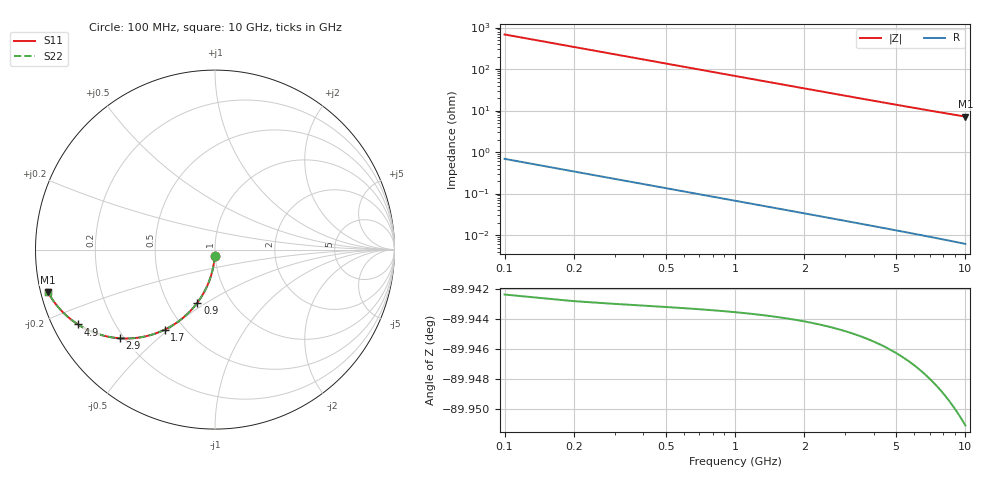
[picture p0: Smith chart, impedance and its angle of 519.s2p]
# Hz S RI R 50.00
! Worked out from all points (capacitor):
!   100 points, 100 MHz to 10 GHz, reference 50 ohm
!   read as one part in shunt: C = 2.33 pF near 100 MHz
!   lowest |Z| = 7.16 ohm at 10 GHz (marker M1)
!   S11 on the Smith chart (normalised r, x): 100 MHz: 0.99, -0.07; 900 MHz: 0.70, -0.46; 1.7 GHz: 0.39, -0.49; 2.9 GHz: 0.18, -0.38; 4.9 GHz: 0.07, -0.25; 10 GHz: 0.02, -0.12
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1e8  -0.00134 -0.0365  0.9986 -0.0368  0.9986 -0.0368  -0.00134 -0.0365
2e8  -0.00539 -0.0726  0.9945 -0.0732  0.9945 -0.0732  -0.00539 -0.0726
3e8  -0.012 -0.1082  0.9879 -0.1091  0.9879 -0.1091  -0.012 -0.1082
4e8  -0.0212 -0.1429  0.9788 -0.1441  0.9788 -0.1441  -0.0212 -0.1429
5e8  -0.0326 -0.1766  0.9673 -0.1781  0.9673 -0.1781  -0.0326 -0.1766
6e8  -0.0463 -0.2088  0.9536 -0.2107  0.9536 -0.2107  -0.0463 -0.2088
7e8  -0.062 -0.2396  0.938 -0.2417  0.938 -0.2417  -0.062 -0.2396
9e8  -0.0984 -0.296  0.9015 -0.2987  0.9015 -0.2987  -0.0984 -0.296
1.1e9  -0.1401 -0.3449  0.8599 -0.3483  0.8599 -0.3483  -0.1401 -0.3449
1.3e9  -0.1852 -0.3861  0.8147 -0.39  0.8147 -0.39  -0.1852 -0.3861
1.7e9  -0.2797 -0.4458  0.7202 -0.451  0.7202 -0.451  -0.2797 -0.4458
1.8e9  -0.3033 -0.4565  0.6966 -0.4619  0.6966 -0.4619  -0.3033 -0.4565
2.3e9  -0.4153 -0.4888  0.5846 -0.4958  0.5846 -0.4958  -0.4153 -0.4888
2.9e9  -0.5301 -0.4942  0.4698 -0.503  0.4698 -0.503  -0.5301 -0.4942
3.4e9  -0.6078 -0.4825  0.392 -0.4929  0.392 -0.4929  -0.6078 -0.4825
4.1e9  -0.6926 -0.4546  0.3073 -0.4672  0.3073 -0.4672  -0.6926 -0.4546
4.9e9  -0.7629 -0.4172  0.2369 -0.4323  0.2369 -0.4323  -0.7629 -0.4172
5.1e9  -0.7771 -0.4077  0.2227 -0.4235  0.2227 -0.4235  -0.7771 -0.4077
5.9e9  -0.8236 -0.3714  0.1761 -0.3897  0.1761 -0.3897  -0.8236 -0.3714
6.7e9  -0.8577 -0.3382  0.142 -0.3591  0.142 -0.3591  -0.8577 -0.3382
8.4e9  -0.9049 -0.2793  0.0947 -0.3058  0.0947 -0.3058  -0.9049 -0.2793
1e10  -0.9313 -0.2359  0.0681 -0.2679  0.0681 -0.2679  -0.9313 -0.2359
